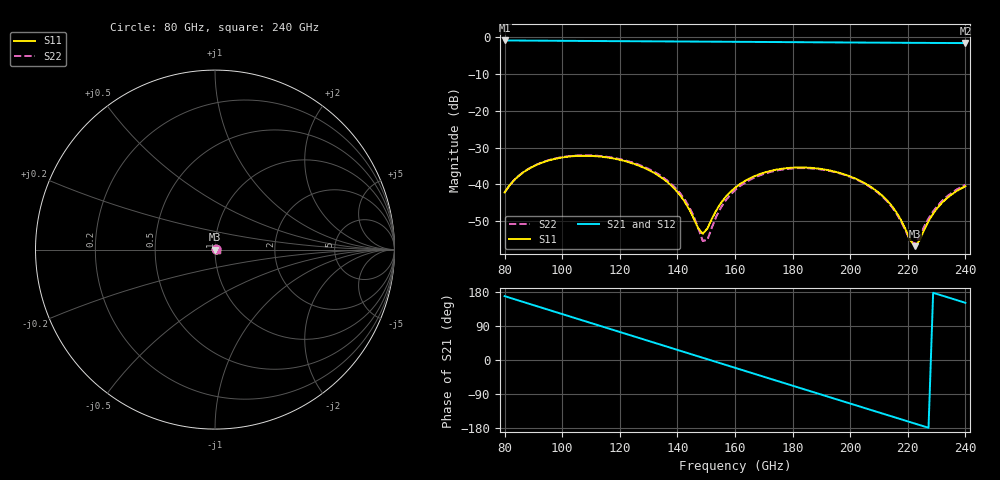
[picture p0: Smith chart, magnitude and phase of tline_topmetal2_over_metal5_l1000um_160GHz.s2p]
#  GHZ S DB R 50
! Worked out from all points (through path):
!   101 points, 80 GHz to 240 GHz, reference 50 ohm
!   highest |S21| = -0.86 dB at 80 GHz (marker M1); lowest = -1.6 dB at 240 GHz (marker M2)
!   group delay of S21, straight-line fit = 6.56 ps
!   lowest |S11| = -56.8 dB at 222.4 GHz (marker M3), VSWR 1.00, Z = 50.1 - j0.113 ohm
!   |S11| at or under -10 dB: start of sweep to end of sweep
!   |S22| runs from -56.2 to -32.1 dB; largest |S21 - S12| = 1e-13
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80  -42.22 8.2  -0.86 168.5  -0.86 168.5  -42.23 7.6
84.8  -37.77 3.1  -0.89 157.2  -0.89 157.2  -37.75 2.6
91.2  -34.66 -8.8  -0.92 142.0  -0.92 142.0  -34.61 -9.4
107.2  -32.23 -42.6  -1.00 104.2  -1.00 104.2  -32.12 -43.5
120  -33.33 -69.6  -1.06 73.9  -1.06 73.9  -33.15 -71.0
134.4  -38.13 -97.5  -1.12 39.9  -1.12 39.9  -37.78 -100.5
142.4  -44.55 -104.7  -1.15 21.0  -1.15 21.0  -43.95 -111.6
145.6  -49.17 -95.6  -1.17 13.5  -1.17 13.5  -48.58 -108.4
148.8  -53.47 -50.9  -1.18 5.9  -1.18 5.9  -55.39 -72.3
150.4  -52.01 -22.1  -1.19 2.1  -1.19 2.1  -55.15 -29.8
155.2  -45.00 2.3  -1.21 -9.2  -1.21 -9.2  -46.20 5.1
160  -40.96 -0.4  -1.23 -20.6  -1.23 -20.6  -41.60 1.7
171.2  -36.58 -20.9  -1.28 -47.0  -1.28 -47.0  -36.87 -19.8
179.2  -35.52 -38.2  -1.32 -65.9  -1.32 -65.9  -35.71 -37.4
187.2  -35.57 -55.8  -1.36 -84.7  -1.36 -84.7  -35.72 -55.3
195.2  -36.66 -73.1  -1.40 -103.6  -1.40 -103.6  -36.78 -72.8
203.2  -38.95 -89.5  -1.43 -122.4  -1.43 -122.4  -39.08 -89.1
214.4  -45.83 -105.6  -1.48 -148.8  -1.48 -148.8  -46.09 -104.4
220.8  -55.10 -81.3  -1.51 -163.8  -1.51 -163.8  -55.24 -74.2
222.4  -56.83 -51.5  -1.51 -167.6  -1.51 -167.6  -56.21 -43.6
230.4  -46.31 4.4  -1.54 173.6  -1.54 173.6  -45.77 3.7
240  -40.53 -9.6  -1.58 151.0  -1.58 151.0  -40.15 -10.6
